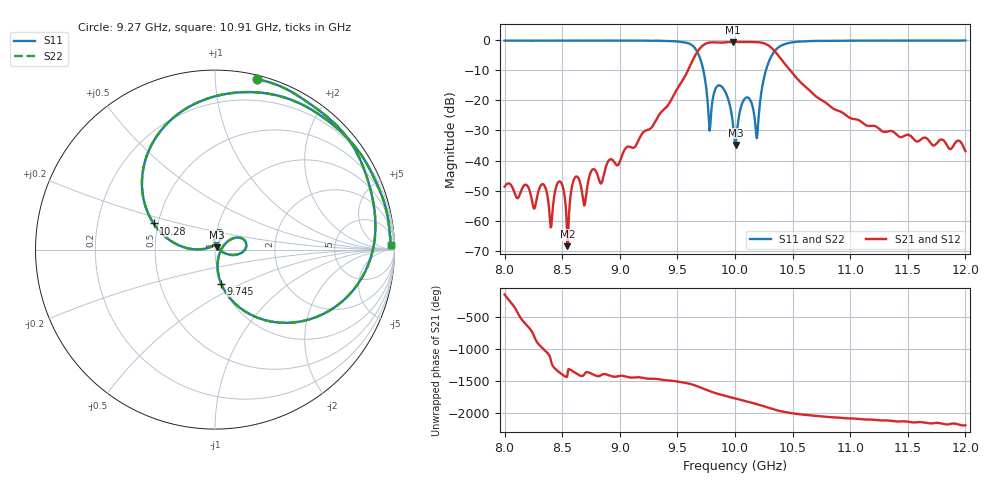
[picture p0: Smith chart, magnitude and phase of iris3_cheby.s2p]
! 3rd-order iris, Chebyshev 0.1 dB (base-paper dimensions)
! openEMS v0.37 FDTD, reciprocal & symmetric: S22=S11, S12=S21
# GHz S MA R 50
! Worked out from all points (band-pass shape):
!   801 points, 8 GHz to 12 GHz, reference 50 ohm
!   highest |S21| = -0.58 dB at 9.985 GHz (marker M1); lowest = -68.5 dB at 8.545 GHz (marker M2)
!   |S21| within 3 dB of the highest: 9.679 GHz to 10.34 GHz (664.6 MHz wide, 6.64 % of centre)
!   lowest |S11| = -34.8 dB at 10.01 GHz (marker M3), VSWR 1.04, Z = 51.2 + j1.36 ohm
!   |S11| at or under -10 dB: 9.725 GHz to 10.27 GHz (543.2 MHz wide, 5.43 % of centre)
!   |S22| runs from -34.8 to -0.1 dB; largest |S21 - S12| = 0
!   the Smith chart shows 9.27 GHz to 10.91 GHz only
!   S11 on the Smith chart (normalised r, x): 9.27 GHz: 0.03, +1.28; 9.745 GHz: 0.99, -0.39; 10.28 GHz: 0.47, +0.16; 10.91 GHz: 38, +47
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8  0.9835 -129.8  0.003686 -142.3  0.003686 -142.3  0.9835 -129.8
8.4  0.9832 -176.8  0.0007741 -75.9  0.0007741 -75.9  0.9832 -176.8
8.48  0.9831 173.8  0.004486 75.7  0.004486 75.7  0.9831 173.8
8.545  0.9838 166.5  0.0003779 33.8  0.0003779 33.8  0.9838 166.5
8.67  0.9826 152.0  0.003145 24.2  0.003145 24.2  0.9826 152.0
9.27  0.9782 76.2  0.03448 -18.2  0.03448 -18.2  0.9782 76.2
9.335  0.9783 65.6  0.05508 -25.0  0.05508 -25.0  0.9783 65.6
9.59  0.8942 4.6  0.3101 -90.1  0.3101 -90.1  0.8942 4.6
9.745  0.1928 -79.8  0.874 171.5  0.874 171.5  0.1928 -79.8
9.785  0.03805 8.8  0.9176 144.2  0.9176 144.2  0.03805 8.8
9.855  0.1763 13.7  0.9104 104.4  0.9104 104.4  0.1763 13.7
9.985  0.03652 -14.6  0.9349 41.5  0.9349 41.5  0.03652 -14.6
10  0.01879 21.9  0.9344 34.4  0.9344 34.4  0.01879 21.9
10.005  0.01814 46.9  0.9341 32.0  0.9341 32.0  0.01814 46.9
10.095  0.1107 78.5  0.9296 -9.4  0.9296 -9.4  0.1107 78.5
10.19  0.02354 122.3  0.9279 -55.1  0.9279 -55.1  0.02354 122.3
10.28  0.3721 156.9  0.8389 -105.1  0.8389 -105.1  0.3721 156.9
10.435  0.8639 87.5  0.3991 -178.8  0.3991 -178.8  0.8639 87.5
10.67  0.9699 34.7  0.1331 125.6  0.1331 125.6  0.9699 34.7
10.91  0.9794 1.5  0.06589 93.2  0.06589 93.2  0.9794 1.5
11.335  0.9827 -44.8  0.0309 48.7  0.0309 48.7  0.9827 -44.8
12  0.9879 -107.8  0.01431 -24.7  0.01431 -24.7  0.9879 -107.8
